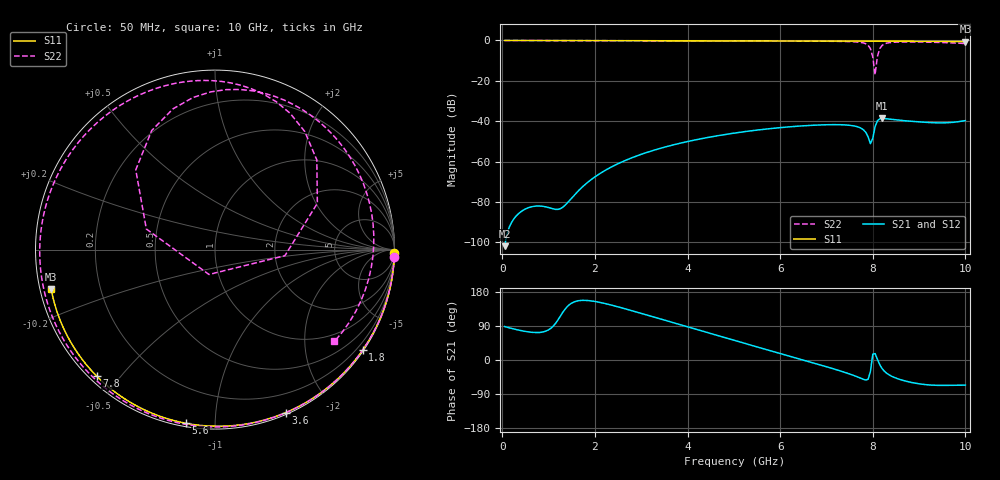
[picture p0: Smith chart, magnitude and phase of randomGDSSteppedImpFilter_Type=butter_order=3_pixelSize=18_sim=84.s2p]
! freq	dB(S11)	phase(S11)	dB(S12)	phase(S12)
!  dB(S21)	phase(S21)	dB(S22)	phase(S22)
!S-par simulation data
#  GHz  S  DB  R 50
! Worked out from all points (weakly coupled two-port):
!   200 points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, 50 MHz to 10 GHz, reference 50 ohm
!   highest |S21| = -38.63 dB at 8.2 GHz (marker M1); lowest = -101.9 dB at 50 MHz (marker M2)
!   lowest |S11| = -0.5 dB at 10 GHz (marker M3), VSWR 31.72, Z = 1.6 - j5.93 ohm
!   |S11| at or under -10 dB: nowhere
!   |S22| runs from -16.9 to 0.0 dB; largest |S21 - S12| = 0
!   S11 on the Smith chart (normalised r, x): 50 MHz: open; 1.8 GHz: 0.03, -3.24; 3.6 GHz: 0.02, -1.52; 5.6 GHz: 0.02, -0.85; 7.8 GHz: 0.02, -0.43; 10 GHz: 0.03, -0.12
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0.05  -0.00 -1.0  -101.90 88.4  -101.90 88.4  -0.00 -2.4
1.4  -0.03 -26.8  -80.60 140.5  -80.60 140.5  -0.08 -64.4
1.75  -0.04 -33.4  -72.13 157.4  -72.13 157.4  -0.09 -78.8
1.8  -0.04 -34.3  -71.13 157.3  -71.13 157.3  -0.09 -80.8
2.45  -0.06 -46.2  -61.59 141.9  -61.59 141.9  -0.12 -105.3
3.4  -0.08 -63.1  -53.51 108.8  -53.51 108.8  -0.15 -137.0
3.6  -0.09 -66.6  -52.26 101.6  -52.26 101.6  -0.15 -143.2
5.05  -0.14 -90.8  -45.76 50.3  -45.76 50.3  -0.22 174.3
5.6  -0.16 -99.6  -44.14 31.1  -44.14 31.1  -0.25 158.2
6.7  -0.23 -116.6  -42.01 -7.0  -42.01 -7.0  -0.34 123.0
7.45  -0.28 -127.9  -41.92 -34.8  -41.92 -34.8  -0.53 90.7
7.8  -0.31 -133.2  -44.30 -51.0  -44.30 -51.0  -1.24 61.1
7.95  -0.32 -135.4  -51.14 -30.2  -51.14 -30.2  -4.07 24.3
8  -0.33 -136.1  -48.51 15.2  -48.51 15.2  -8.15 -4.9
8.05  -0.33 -136.9  -42.70 17.0  -42.70 17.0  -16.92 -103.6
8.1  -0.34 -137.6  -39.81 1.9  -39.81 1.9  -7.97 163.3
8.2  -0.35 -139.1  -38.63 -22.3  -38.63 -22.3  -2.48 118.0
8.35  -0.36 -141.4  -38.95 -39.0  -38.95 -39.0  -1.12 91.5
8.75  -0.40 -147.4  -39.88 -56.9  -39.88 -56.9  -0.73 58.0
9.25  -0.46 -154.9  -40.69 -66.1  -40.69 -66.1  -0.87 23.9
9.65  -0.50 -161.0  -40.70 -66.7  -40.70 -66.7  -1.15 -6.6
10  -0.55 -166.5  -39.68 -66.3  -39.68 -66.3  -1.52 -37.6
